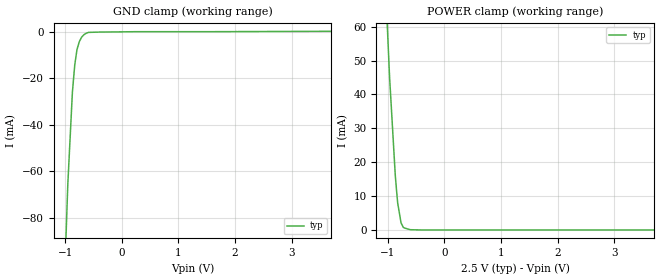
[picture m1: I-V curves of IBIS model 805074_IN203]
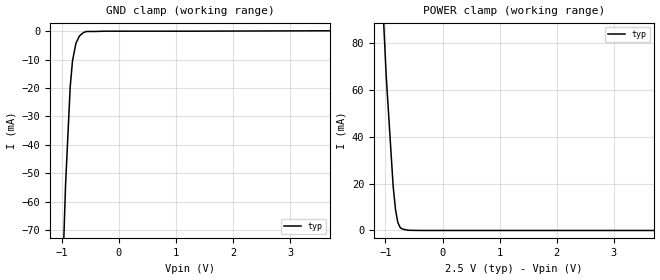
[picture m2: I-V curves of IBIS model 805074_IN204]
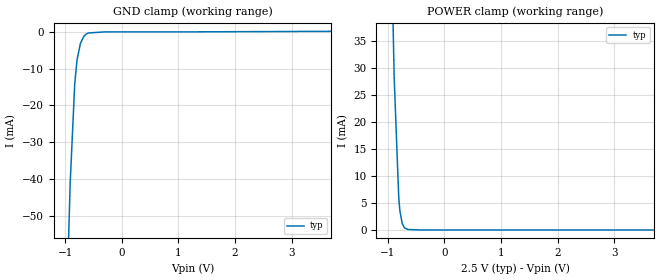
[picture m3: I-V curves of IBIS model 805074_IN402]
| COPYRIGHT(C) MENTOR GRAPHICS CORPORATION 2001 ALL
| RIGHTS RESERVED. THIS WORK CONTAINS PROPRIETARY
| INFORMATION WHICH IS THE PROPERTY OF MENTOR GRAPHICS
| CORPORATION OR ITS LICENSORS. USE OF THESE MATERIALS
| IS SUBJECT TO THE TERMS BELOW.
| USE: YOU MAY USE IBIS MODELS SOLELY FOR DEVELOPING
| PRINTED CIRCUIT BOARD DESIGNS. NO OTHER USE OR
| DISTRIBUTION OF THESE MATERIALS IS PERMITTED.
| DISCLAIMER OF WARRANTY:  UNLESS OTHERWISE AGREED
| IN WRITING, MENTOR GRAPHICS SOFTWARE AND ASSOCIATED
| FILES ARE PROVIDED "AS IS" AND WITHOUT WARRANTY.
| MENTOR GRAPHICS HAS NO OBLIGATION TO SUPPORT OR
| OTHERWISE MAINTAIN SOFTWARE.  MENTOR GRAPHICS MAKES
| NO WARRANTIES, EXPRESS OR IMPLIED WITH RESPECT TO
| SOFTWARE INCLUDING ANY WARRANTY OF MERCHANTABILITY
| OR FITNESS FOR A PARTICULAR PURPOSE.
| LIMITATION OF LIABILITY:  MENTOR GRAPHICS IS NOT LIABLE FOR
| ANY PROPERTY DAMAGE, PERSONAL INJURY, LOSS OF PROFITS,
| INTERRUPTION OF BUSINESS, OR FOR ANY OTHER SPECIAL,
| CONSEQUENTIAL OR INCIDENTAL DAMAGES, HOWEVER CAUSED,
| WHETHER FOR BREACH OF WARRANTY, CONTRACT, TORT
| (INCLUDING NEGLIGENCE), STRICT LIABILITY OR OTHERWISE. IN NO
| EVENT SHALL MENTOR GRAPHICS' LIABILITY EXCEED THE AMOUNT
| PAID FOR THE PRODUCT GIVING RISE TO THE CLAIM.
| TRADEMARKS:  THE FOLLOWING ARE REGISTERED TRADEMARKS
| OR SERVICE MARKS OF MENTOR GRAPHICS CORPORATION:
| ICX, ICX STANDARD LIBRARY, ICX PROJECT MODELING,
| AND ICX CUSTOM MODELING.  THE FOLLOWING ARE TRADEMARKS
| OR SERVICE MARKS OF MENTOR GRAPHICS CORPORATION:
| QUALITYIBIS, MODELVIEWER, AND MODELEDITOR. ALL OTHER
| BRANDS AND PRODUCT NAMES ARE TRADEMARKS OF THEIR
| RESPECTIVE OWNERS.
| COPIES:  ALL COPIES OF SOFTWARE, INCLUDING BUT NOT LIMITED
| TO ANY MODIFICATIONS, ENHANCEMENTS OR DERIVATIVE WORKS
| MUST CONTAIN ALL MENTOR GRAPHICS' NOTICES AND LEGENDS,
| INCLUDING THOSE EMBEDDED IN SOFTWARE AND THOSE AFFIXED
| TO THE SOFTWARE MEDIUM AND CONTAINER, AS RECEIVED FROM
| MENTOR GRAPHICS.
[IBIS Ver] 3.1
[File Name] nbsg111ba_25v.ibs
[File Rev] 2.0
[Source] Measured and created by ICX Technology
[Date] Wednesday 1/16/02 9:10:01 AM
[Copyright]
| COPYRIGHT(C) MENTOR GRAPHICS CORPORATION 2001 ALL
| RIGHTS RESERVED. THIS WORK CONTAINS PROPRIETARY
| INFORMATION WHICH IS THE PROPERTY OF MENTOR GRAPHICS
| CORPORATION OR ITS LICENSORS. USE OF THESE MATERIALS
| IS SUBJECT TO THE TERMS BELOW.
| USE: YOU MAY USE IBIS MODELS SOLELY FOR DEVELOPING
| PRINTED CIRCUIT BOARD DESIGNS. NO OTHER USE OR
| DISTRIBUTION OF THESE MATERIALS IS PERMITTED.
|  ZAP Model Builder 3.2
[Component] _NBSG111BA_25v
[Manufacturer] OnSemiconductor
[Package]
| variable   typ   min   max
R_pkg  .162ohms NA NA
L_pkg  1.728nH NA NA
C_pkg  1.114pF NA NA
[Pin] signal_name  model_name  R_pin  L_pin C_pin
A1 VEE GND .153 1.78n 1.148p
A2 _Q9 805074_OUT301 .149 1.726n 1.113p
A3 Q9 805074_OUT201 .144 1.675n 1.08p
A4 _Q8 805074_OUT301 .144 1.675n 1.08p
A5 Q8 805074_OUT201 .149 1.726n 1.113p
A6 _Q7 805074_OUT301 .153 1.78n 1.148p
A7 VEE GND .163 1.78n 1.148p
B1 Q0 805074_OUT201 .158 1.726n 1.113p
B2 VMM NC .153 1.675n 1.08p
B3 _CLK1 805074_IN203 .153 1.675n 1.08p
B4 CLK1 805074_IN204 .158 1.726n 1.113p
B5 VCC POWER .163 1.78n 1.148p
B6 NC NC .172 1.78n 1.148p
B7 Q7 805074_OUT201 .167 1.726n 1.113p
C1 _Q0 805074_OUT301 .162 1.675n 1.08p
C2 VEE GND .162 1.675n 1.08p
C3 _VTCLK1 805074_IN505 .167 1.726n 1.113p
C4 VTCLK1 805074_IN504 .172 1.78n 1.148p
C5 _VTSEL 805074_IN505 .182 1.78n 1.148p
C6 _SEL 805074_IN504 .177 1.726n 1.113p
C7 _Q6 805074_OUT301 .171 1.675n 1.08p
D1 Q1 805074_OUT201 .171 1.675n 1.08p
D2 EN 805074_IN402 .177 1.726n 1.113p
D3 VTEN 805074_IN402 .182 1.78n 1.148p
D4 VCC POWER .182 1.78n 1.148p
D5 VTSEL 805074_IN505 .177 1.726n 1.113p
D6 SEL 805074_IN504 .171 1.675n 1.08p
D7 Q6 805074_OUT201 .171 1.675n 1.08p
E1 _Q1 805074_OUT301 .177 1.726n 1.113p
E2 _EN 805074_IN402 .182 1.78n 1.148p
E3 _VTEN 805074_IN402 .172 1.78n 1.148p
E4 VTCLK0 805074_IN504 .167 1.726n 1.113p
E5 _VTCLK0 805074_IN505 .162 1.675n 1.08p
E6 VEE GND .162 1.675n 1.08p
E7 _Q5 805074_OUT301 .167 1.726n 1.113p
F1 Q2 805074_OUT201 .172 1.78n 1.148p
F2 NC NC .163 1.78n 1.148p
F3 VCC POWER .158 1.726n 1.113p
F4 CLK0 805074_IN604 .153 1.675n 1.08p
F5 _CLK0 805074_IN605 .153 1.675n 1.08p
F6 VBB NC .158 1.726n 1.113p
F7 Q5 805074_OUT201 .163 1.78n 1.148p
G1 VEE GND .153 1.78n 1.148p
G2 _Q2 805074_OUT301 .149 1.726n 1.113p
G3 Q3 805074_OUT201 .144 1.675n 1.08p
G4 _Q3 805074_OUT301 .144 1.675n 1.08p
G5 Q4 805074_OUT201 .149 1.726n 1.113p
G6 _Q4 805074_OUT301 .153 1.78n 1.148p
G7 VEE GND .153 1.78n 1.148p
| Models and submodels in the file (9): 805074_IN203 (Input), 805074_IN204 (Input), 805074_IN402 (Input), 805074_IN504 (Input), 805074_IN505 (Input), 805074_IN604 (Input), 805074_IN605 (Input), 805074_OUT201 (Output_ECL), 805074_OUT301 (Output_ECL)
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| COPYRIGHT(C) MENTOR GRAPHICS CORPORATION 2001 ALL
| RIGHTS RESERVED. THIS WORK CONTAINS PROPRIETARY
| INFORMATION WHICH IS THE PROPERTY OF MENTOR GRAPHICS
| CORPORATION OR ITS LICENSORS. USE OF THESE MATERIALS
| IS SUBJECT TO THE TERMS BELOW.
| USE: YOU MAY USE IBIS MODELS SOLELY FOR DEVELOPING
| PRINTED CIRCUIT BOARD DESIGNS. NO OTHER USE OR
| DISTRIBUTION OF THESE MATERIALS IS PERMITTED.
| Model Application Version 1.89 2/18/99.
[Model] 805074_IN203
Model_type Input
Vinl = 700.0mV
Vinh = 1.700V
C_comp 500.0fF NA NA
| variable typ   min   max
[Voltage Range] 2.500V NA NA
[GND Clamp Reference] 0.000V NA NA
[POWER Clamp Reference] 2.500V NA NA
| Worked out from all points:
|   GND clamp passes 1 mA (typ) near -0.65 V on its own axis
|   POWER clamp passes 1 mA (typ) near -0.73 V on its own axis
[GND Clamp]
-2.5V     -1.165A    NA         NA
-953mV    -65.6mA    NA         NA
-872mV    -26.1mA    NA         NA
-831mV    -14.4mA    NA         NA
-791mV    -7.7mA     NA         NA
-750mV    -4.3mA     NA         NA
-710mV    -2.4mA     NA         NA
-629mV    -700uA     NA         NA
-588mV    -300uA     NA         NA
263mV     0A         NA         NA
5V        268.1uA    NA         NA
[POWER Clamp]
-2.5V     622.5mA    NA         NA
-966mV    45.15mA    NA         NA
-865mV    16.06mA    NA         NA
-824mV    8.062mA    NA         NA
-763mV    2.067mA    NA         NA
-723mV    770uA      NA         NA
-702mV    571.6uA    NA         NA
-642mV    276.3uA    NA         NA
-601mV    79.49uA    NA         NA
-400.7mV  0A         NA         NA
5V        0A         NA         NA
| COPYRIGHT(C) MENTOR GRAPHICS CORPORATION 2001 ALL
| RIGHTS RESERVED. THIS WORK CONTAINS PROPRIETARY
| INFORMATION WHICH IS THE PROPERTY OF MENTOR GRAPHICS
| CORPORATION OR ITS LICENSORS. USE OF THESE MATERIALS
| IS SUBJECT TO THE TERMS BELOW.
| USE: YOU MAY USE IBIS MODELS SOLELY FOR DEVELOPING
| PRINTED CIRCUIT BOARD DESIGNS. NO OTHER USE OR
| DISTRIBUTION OF THESE MATERIALS IS PERMITTED.
| Model Application Version 1.89 2/18/99.
[Model] 805074_IN204
Model_type Input
Vinl = 700.0mV
Vinh = 1.700V
C_comp 500.0fF NA NA
| variable typ   min   max
[Voltage Range] 2.500V NA NA
[GND Clamp Reference] 0.000V NA NA
[POWER Clamp Reference] 2.500V NA NA
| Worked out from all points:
|   GND clamp passes 1 mA (typ) near -0.65 V on its own axis
|   POWER clamp passes 1 mA (typ) near -0.73 V on its own axis
[GND Clamp]
-2.5V     -1.198A    NA         NA
-1.034V   -117.1mA   NA         NA
-932mV    -54mA      NA         NA
-851mV    -19.6mA    NA         NA
-811mV    -10.5mA    NA         NA
-750mV    -4.2mA     NA         NA
-689mV    -1.7mA     NA         NA
-608mV    -400uA     NA         NA
-562.2mV  -100uA     NA         NA
-258.2mV  0A         NA         NA
5V        224.2uA    NA         NA
[POWER Clamp]
-2.5V     840.1mA    NA         NA
-986mV    65.57mA    NA         NA
-865mV    18.87mA    NA         NA
-824mV    8.975mA    NA         NA
-784mV    3.477mA    NA         NA
-743mV    1.28mA     NA         NA
-723mV    880.8uA    NA         NA
-682mV    483.2uA    NA         NA
-601mV    88uA       NA         NA
-400.7mV  0A         NA         NA
5V        0A         NA         NA
| COPYRIGHT(C) MENTOR GRAPHICS CORPORATION 2001 ALL
| RIGHTS RESERVED. THIS WORK CONTAINS PROPRIETARY
| INFORMATION WHICH IS THE PROPERTY OF MENTOR GRAPHICS
| CORPORATION OR ITS LICENSORS. USE OF THESE MATERIALS
| IS SUBJECT TO THE TERMS BELOW.
| USE: YOU MAY USE IBIS MODELS SOLELY FOR DEVELOPING
| PRINTED CIRCUIT BOARD DESIGNS. NO OTHER USE OR
| DISTRIBUTION OF THESE MATERIALS IS PERMITTED.
| Model Application Version 1.89 2/18/99.
[Model] 805074_IN402
Model_type Input
Vinl = 700.0mV
Vinh = 1.700V
C_comp 500.0fF NA NA
| variable typ   min   max
[Voltage Range] 2.500V NA NA
[GND Clamp Reference] 0.000V NA NA
[POWER Clamp Reference] 2.500V NA NA
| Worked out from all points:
|   GND clamp passes 1 mA (typ) near -0.66 V on its own axis
|   POWER clamp passes 1 mA (typ) near -0.73 V on its own axis
[GND Clamp]
-2.5V     -1.075A    NA         NA
-1.034V   -107.7mA   NA         NA
-912mV    -41.4mA    NA         NA
-831mV    -14.2mA    NA         NA
-791mV    -7.7mA     NA         NA
-730mV    -3.1mA     NA         NA
-669mV    -1.2mA     NA         NA
-628mV    -600uA     NA         NA
-588mV    -300uA     NA         NA
-294mV    0A         NA         NA
1.216V    0A         NA         NA
5V        219.6uA    NA         NA
[POWER Clamp]
-2.5V     1.062A     NA         NA
-1.027V   100.6mA    NA         NA
-885mV    28.27mA    NA         NA
-804mV    5.979mA    NA         NA
-784mV    3.58mA     NA         NA
-743mV    1.182mA    NA         NA
-702mV    384.7uA    NA         NA
-641mV    88.28uA    NA         NA
-427.3mV  0A         NA         NA
5V        0A         NA         NA
